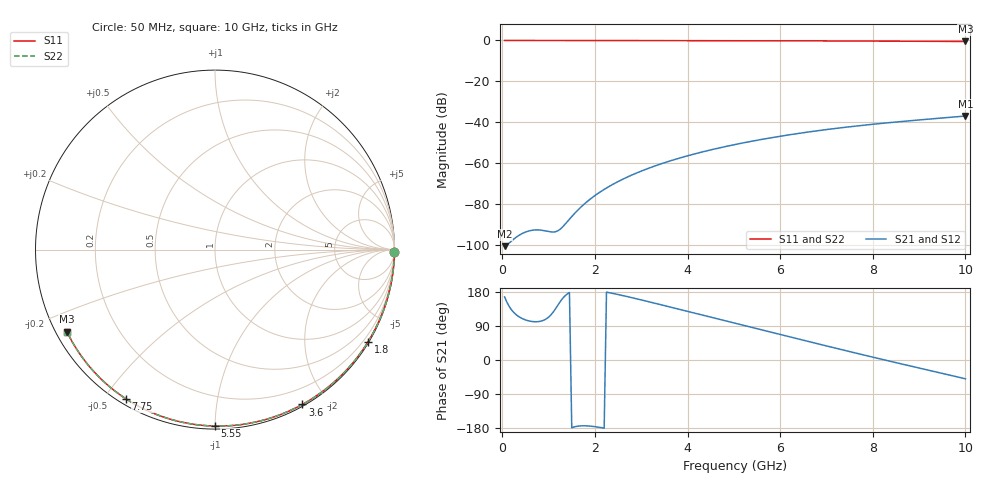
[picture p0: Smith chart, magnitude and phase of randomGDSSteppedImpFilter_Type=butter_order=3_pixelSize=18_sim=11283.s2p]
! freq	dB(S11)	phase(S11)	dB(S12)	phase(S12)
!  dB(S21)	phase(S21)	dB(S22)	phase(S22)
!S-par simulation data
#  GHz  S  DB  R 50
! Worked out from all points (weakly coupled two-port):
!   200 points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, 50 MHz to 10 GHz, reference 50 ohm
!   highest |S21| = -37.00 dB at 10 GHz (marker M1); lowest = -100.7 dB at 50 MHz (marker M2)
!   lowest |S11| = -0.5 dB at 10 GHz (marker M3), VSWR 34.21, Z = 1.56 - j12.9 ohm
!   |S11| at or under -10 dB: nowhere
!   |S22| runs from -0.5 to 0.0 dB; largest |S21 - S12| = 0
!   S11 on the Smith chart (normalised r, x): 50 MHz: open; 1.8 GHz: 0.03, -3.59; 3.6 GHz: 0.02, -1.71; 5.55 GHz: 0.02, -1.00; 7.75 GHz: 0.02, -0.57; 10 GHz: 0.03, -0.26
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0.05  -0.00 -0.9  -100.72 166.5  -100.72 166.5  -0.00 -0.9
0.45  -0.01 -7.9  -94.30 108.3  -94.30 108.3  -0.01 -7.9
0.85  -0.02 -14.8  -92.90 103.0  -92.90 103.0  -0.02 -14.8
1.3  -0.03 -22.6  -91.36 162.0  -91.36 162.0  -0.03 -22.6
1.75  -0.04 -30.2  -80.49 -173.6  -80.49 -173.6  -0.04 -30.2
1.8  -0.04 -31.1  -79.50 -173.7  -79.50 -173.7  -0.04 -31.1
1.95  -0.04 -33.6  -76.78 -175.1  -76.78 -175.1  -0.04 -33.6
2.1  -0.05 -36.1  -74.38 -177.7  -74.38 -177.7  -0.05 -36.1
2.3  -0.05 -39.5  -71.56 177.9  -71.56 177.9  -0.05 -39.5
2.5  -0.06 -42.8  -69.09 172.8  -69.09 172.8  -0.06 -42.8
2.9  -0.06 -49.3  -64.89 161.5  -64.89 161.5  -0.06 -49.3
3.4  -0.08 -57.4  -60.62 146.6  -60.62 146.6  -0.08 -57.4
3.6  -0.08 -60.6  -59.14 140.5  -59.14 140.5  -0.08 -60.6
4.3  -0.10 -71.5  -54.69 119.2  -54.69 119.2  -0.10 -71.5
5.05  -0.13 -82.8  -50.84 96.3  -50.84 96.3  -0.13 -82.8
5.55  -0.15 -90.1  -48.65 81.0  -48.65 81.0  -0.15 -90.1
6.1  -0.17 -98.0  -46.54 64.3  -46.54 64.3  -0.17 -98.0
6.7  -0.21 -106.4  -44.53 46.1  -44.53 46.1  -0.21 -106.4
7.75  -0.28 -120.8  -41.63 14.8  -41.63 14.8  -0.28 -120.8
8.35  -0.33 -128.9  -40.25 -2.6  -40.25 -2.6  -0.33 -128.9
9.2  -0.42 -140.3  -38.52 -26.8  -38.52 -26.8  -0.42 -140.3
10  -0.51 -151.1  -37.00 -49.6  -37.00 -49.6  -0.51 -151.1
